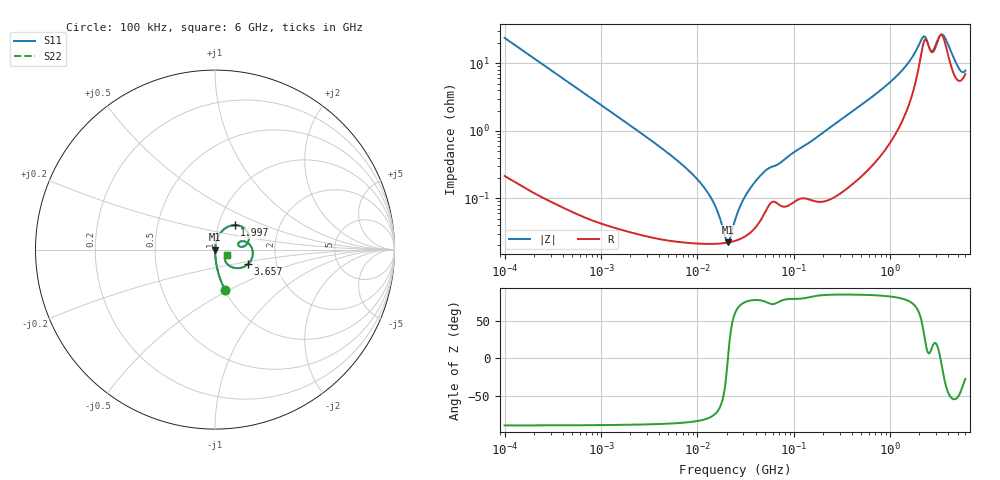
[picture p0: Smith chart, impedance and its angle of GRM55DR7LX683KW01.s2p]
!Murata Part Number: GRM55DR7LX683KW01
!These Parameters are Measured in Series Mode Connection
!Data Generated on Mar 30, 2021
!  o--ll--o
!Port1  Port2
!  o------o
!Operation Temp=25[degC], DC Bias Voltage=0[V]
!Freq. Start=100[kHz] Stop=6[GHz] 401[Steps]
# Hz S RI R 50
!Freq.(Hz) S11(Real) S11(Imag) S21(Real) S21(Imag) S12(Real) S12(Imag) S22(Real) S22(Imag)
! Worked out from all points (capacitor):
!   401 points, 100 kHz to 6 GHz, reference 50 ohm
!   read as one part in series: C = 66.5 nF near 105.7 kHz
!   lowest |Z| = 22.1 mohm at 20.77 MHz (marker M1)
!   series resonance near 20.68 MHz, so ESL is about 890 pH
!   S11 on the Smith chart (normalised r, x): 100 kHz: 1.00, -0.48; 1.997 GHz: 1.19, +0.34; 3.657 GHz: 1.43, -0.24; 6 GHz: 1.14, -0.07
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100000  0.0558 -0.2252  0.9442 0.2252  0.9442 0.2252  0.0558 -0.2252
631452  0.002 -0.0381  0.998 0.0381  0.998 0.0381  0.002 -0.0381
3987316  0.000283 -0.0059  0.9997 0.0059  0.9997 0.0059  0.000283 -0.0059
7930766  0.000225 -0.00264  0.9998 0.00264  0.9998 0.00264  0.000225 -0.00264
1.198108e7  0.000212 -0.00137  0.9998 0.00137  0.9998 0.00137  0.000212 -0.00137
1.534632e7  0.000211 -0.000726  0.9998 0.000726  0.9998 0.000726  0.000211 -0.000726
1.965679e7  0.000218 -0.000122  0.9998 0.000122  0.9998 0.000122  0.000218 -0.000122
2.076842e7  0.00022 1.05e-05  0.9998 -1.05e-05  0.9998 -1.05e-05  0.00022 1.05e-05
2.19429e7  0.000224 0.000143  0.9998 -0.000143  0.9998 -0.000143  0.000224 0.000143
2.517799e7  0.000237 0.00048  0.9998 -0.00048  0.9998 -0.00048  0.000237 0.00048
3.224998e7  0.000281 0.00112  0.9997 -0.00112  0.9997 -0.00112  0.000281 0.00112
4.739851e7  0.000536 0.00229  0.9995 -0.00229  0.9995 -0.00229  0.000536 0.00229
1.546735e8  0.000977 0.00709  0.999 -0.00709  0.999 -0.00709  0.000977 0.00709
9.76689e8  0.00893 0.0504  0.9911 -0.0504  0.9911 -0.0504  0.00893 0.0504
1.475492e9  0.0275 0.0883  0.9725 -0.0883  0.9725 -0.0883  0.0275 0.0883
1.996807e9  0.1091 0.1366  0.8909 -0.1366  0.8909 -0.1366  0.1091 0.1366
2.229039e9  0.1842 0.0934  0.8158 -0.0934  0.8158 -0.0934  0.1842 0.0934
2.702311e9  0.1288 0.0291  0.8712 -0.0291  0.8712 -0.0291  0.1288 0.0291
3.276068e9  0.2062 0.00699  0.7938 -0.00699  0.7938 -0.00699  0.2062 0.00699
3.65708e9  0.1835 -0.0819  0.8165 0.0819  0.8165 0.0819  0.1835 -0.0819
5.229069e9  0.0551 -0.0535  0.9449 0.0535  0.9449 0.0535  0.0551 -0.0535
6e9  0.0662 -0.0314  0.9338 0.0314  0.9338 0.0314  0.0662 -0.0314
